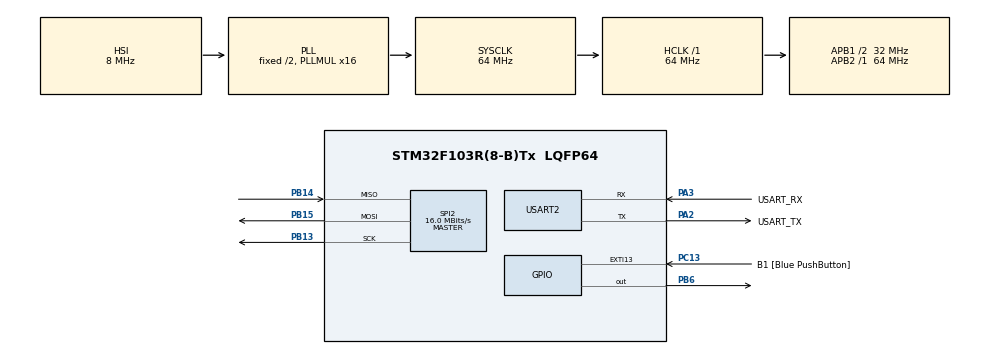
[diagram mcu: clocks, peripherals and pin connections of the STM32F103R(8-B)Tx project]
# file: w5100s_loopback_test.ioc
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Mcu.Family=STM32F1
PC15-OSC32_OUT.Mode=LSE-External-Oscillator
PA2.GPIO_PuPd=GPIO_NOPULL
PD1-OSC_OUT.Mode=HSE-External-Clock-Source
SPI2.VirtualType=VM_MASTER
PA14.GPIO_Label=TCK
PA3.GPIO_PuPd=GPIO_NOPULL
PA2.GPIO_Speed=GPIO_SPEED_FREQ_LOW
PC13-TAMPER-RTC.Signal=GPXTI13
PD0-OSC_IN.Signal=RCC_OSC_IN
RCC.APB1CLKDivider=RCC_HCLK_DIV2
PC14-OSC32_IN.Signal=RCC_OSC32_IN
PA3.GPIO_Speed=GPIO_SPEED_FREQ_LOW
PB13.Signal=SPI2_SCK
PB15.Signal=SPI2_MOSI
NVIC.USART2_IRQn=true\:0\:0\:false\:false\:true\:true\:true
RCC.SYSCLKSource=RCC_SYSCLKSOURCE_PLLCLK
ProjectManager.StackSize=0x400
PD1-OSC_OUT.Signal=RCC_OSC_OUT
PA13.Signal=SYS_JTMS-SWDIO
PA3.Mode=Asynchronous
ProjectManager.TargetToolchain=STM32CubeIDE
PA3.GPIO_Mode=GPIO_MODE_AF_PP
RCC.HCLKFreq_Value=64000000
RCC.APB2TimFreq_Value=64000000
PB6.Signal=GPIO_Output
RCC.USBFreq_Value=64000000
PC15-OSC32_OUT.Signal=RCC_OSC32_OUT
RCC.AHBFreq_Value=64000000
PD0-OSC_IN.Mode=HSE-External-Clock-Source
NVIC.EXTI15_10_IRQn=true\:0\:0\:false\:false\:true\:true\:true
PB14.Signal=SPI2_MISO
board=NUCLEO-F103RB
RCC.RTCClockSelection=RCC_RTCCLKSOURCE_LSE
PC13-TAMPER-RTC.GPIO_Label=B1 [Blue PushButton]
RCC.PLLMUL=RCC_PLL_MUL16
PB15.Mode=Full_Duplex_Master
RCC.APB2Freq_Value=64000000
PC14-OSC32_IN.Mode=LSE-External-Oscillator
PA14.Mode=Serial_Wire
PB14.Mode=Full_Duplex_Master
SPI2.CalculateBaudRate=16.0 MBits/s
PA13.Mode=Serial_Wire
Mcu.Name=STM32F103R(8-B)Tx
PA2.Signal=USART2_TX
PA13.GPIO_Label=TMS
PB3.Signal=SYS_JTDO-TRACESWO
RCC.SYSCLKFreq_VALUE=64000000
Mcu.Package=LQFP64
SPI2.Mode=SPI_MODE_MASTER
USART2.VirtualMode=VM_ASYNC
PC13-TAMPER-RTC.GPIO_PuPd=GPIO_NOPULL
PA2.GPIO_Label=USART_TX
PA14.Signal=SYS_JTCK-SWCLK
ProjectManager.HeapSize=0x200
NVIC.PriorityGroup=NVIC_PRIORITYGROUP_4
RCC.APB1TimFreq_Value=64000000
PA2.Mode=Asynchronous
SPI2.Direction=SPI_DIRECTION_2LINES
PB13.Mode=Full_Duplex_Master
RCC.APB1Freq_Value=32000000
PA3.GPIO_Label=USART_RX
PA3.Signal=USART2_RX
PA2.GPIO_Mode=GPIO_MODE_AF_PP
PB3.GPIO_Label=SWO

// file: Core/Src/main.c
/* USER CODE BEGIN Header */
/**
  ******************************************************************************
  * @file           : main.c
  * @brief          : Main program body
  ******************************************************************************
  * @attention
  *
  * <h2><center>&copy; Copyright (c) 2021 STMicroelectronics.
  * All rights reserved.</center></h2>
  *
  * This software component is licensed by ST under BSD 3-Clause license,
  * the "License"; You may not use this file except in compliance with the
  * License. You may obtain a copy of the License at:
  *                        opensource.org/licenses/BSD-3-Clause
  *
  ******************************************************************************
  */
/* USER CODE END Header */
#include "main.h"

/* USER CODE BEGIN Includes */
#include "wizchip_conf.h"
/* USER CODE END Includes */

SPI_HandleTypeDef hspi2;

UART_HandleTypeDef huart2;

/* USER CODE BEGIN PV */
wiz_NetInfo defaultNetInfo = { .mac = {0x00,0x08,0xdc,0xff,0xee,0xdd},
							.ip = {192,168,11,130},
							.sn = {255,255,255,0},
							.gw = {192,168,11,1},
							//.dns = {168, 126, 63, 1},
							.dns = {8, 8, 8, 8},
							.dhcp = NETINFO_STATIC};
uint8_t ethBuf0[2048];
uint8_t ethBuf1[2048];
uint8_t ethBuf2[2048];
uint8_t ethBuf3[2048];
uint8_t destip[4] = {192, 168, 11, 10}; //PC IP addr

/* USER CODE END PV */

void SystemClock_Config(void);
static void MX_GPIO_Init(void);
static void MX_USART2_UART_Init(void);
static void MX_SPI2_Init(void);
/* USER CODE BEGIN PFP */
void print_network_information(void);
int _write(int fd, char *str, int len);
/* USER CODE END PFP */

/* USER CODE BEGIN 0 */
void csEnable(void)
{
	HAL_GPIO_WritePin(GPIOB, GPIO_PIN_6, GPIO_PIN_RESET);
}

void csDisable(void)
{
	HAL_GPIO_WritePin(GPIOB, GPIO_PIN_6, GPIO_PIN_SET);
}

void spiWriteByte(uint8_t tx)
{
	uint8_t rx;
	HAL_SPI_TransmitReceive(&hspi2, &tx, &rx, 1, 10);
}

uint8_t spiReadByte(void)
{
	uint8_t rx = 0, tx = 0xFF;
	HAL_SPI_TransmitReceive(&hspi2, &tx, &rx, 1, 10);
	return rx;
}
void W5100s_Initialze(void)
{
	csDisable();
	reg_wizchip_cs_cbfunc(csEnable, csDisable);
	reg_wizchip_spi_cbfunc(spiReadByte,spiWriteByte);

#if _WIZCHIP_ == W5100
  HAL_Delay(3000);
#endif
#if _WIZCHIP_ == W5100S
  printf("version:%2x\r\n", getVER());
  printf("TMSR:%2x\r\n", getTMSR());
  //NETUNLOCK();
#endif
	uint8_t tmp;
	//w5500, w5200
#if _WIZCHIP_SOCK_NUM_ == 8
	uint8_t memsize[2][8] = { {2,2,2,2,2,2,2,2},{2,2,2,2,2,2,2,2}};
#else
	uint8_t memsize[2][4] = { {2,2,2,2},{2,2,2,2}};
#endif
	if(ctlwizchip(CW_INIT_WIZCHIP,(void*)memsize) == -1)
	{
		//myprintf("WIZCHIP Initialized fail.\r\n");
		printf("WIZCHIP Initialized fail.\r\n", 1, 10);
	  return;
	}
	/* PHY link status check */
	do {
		if(ctlwizchip(CW_GET_PHYLINK, (void*)&tmp) == -1)
		{
			printf("Unknown PHY Link status.\r\n", 1, 10);
		  return;
		}
	} while (tmp == PHY_LINK_OFF);
}

/* USER CODE END 0 */

int main(void)
{
  /* USER CODE BEGIN 1 */
//IP, MAC
  /* USER CODE END 1 */

  /* MCU Configuration--------------------------------------------------------*/

  /* Reset of all peripherals, Initializes the Flash interface and the Systick. */
  HAL_Init();

  /* Configure the system clock */
  SystemClock_Config();

  /* Initialize all configured peripherals */
  MX_GPIO_Init();
  MX_USART2_UART_Init();
  MX_SPI2_Init();
  /* USER CODE BEGIN 2 */
  printf("\t - W5100S Project - \r\n");
  resetAssert();
  HAL_Delay(1000);
  resetDeassert();
  HAL_Delay(1000);
  printf("\t - WizChip Init - \r\n");

  //WIZCHIPInitialize();
  W5100s_Initialze();

  wizchip_setnetinfo(&defaultNetInfo);
  print_network_information();
  /* USER CODE END 2 */

  /* Infinite loop */
  while (1)
  {

	  loopback_tcps(0, ethBuf0, 5000);
	  //loopback_tcps(1, ethBuf1, 5001);
	  //loopback_tcps(2, ethBuf2, 5002);
	  //loopback_tcps(3, ethBuf3, 5003);
	  //loopback_tcpc(1, ethBuf1, destip, 5010);
	  //loopback_udps(2, ethBuf2, 5020);
  }
}

void SystemClock_Config(void)
{
  RCC_OscInitTypeDef RCC_OscInitStruct = {0};
  RCC_ClkInitTypeDef RCC_ClkInitStruct = {0};

  /** Initializes the RCC Oscillators according to the specified parameters
  * in the RCC_OscInitTypeDef structure.
  */
  RCC_OscInitStruct.OscillatorType = RCC_OSCILLATORTYPE_HSI;
  RCC_OscInitStruct.HSIState = RCC_HSI_ON;
  RCC_OscInitStruct.HSICalibrationValue = RCC_HSICALIBRATION_DEFAULT;
  RCC_OscInitStruct.PLL.PLLState = RCC_PLL_ON;
  RCC_OscInitStruct.PLL.PLLSource = RCC_PLLSOURCE_HSI_DIV2;
  RCC_OscInitStruct.PLL.PLLMUL = RCC_PLL_MUL16;
  if (HAL_RCC_OscConfig(&RCC_OscInitStruct) != HAL_OK)
  {
    Error_Handler();
  }
  /** Initializes the CPU, AHB and APB buses clocks
  */
  RCC_ClkInitStruct.ClockType = RCC_CLOCKTYPE_HCLK|RCC_CLOCKTYPE_SYSCLK
                              |RCC_CLOCKTYPE_PCLK1|RCC_CLOCKTYPE_PCLK2;
  RCC_ClkInitStruct.SYSCLKSource = RCC_SYSCLKSOURCE_PLLCLK;
  RCC_ClkInitStruct.AHBCLKDivider = RCC_SYSCLK_DIV1;
  RCC_ClkInitStruct.APB1CLKDivider = RCC_HCLK_DIV2;
  RCC_ClkInitStruct.APB2CLKDivider = RCC_HCLK_DIV1;

  if (HAL_RCC_ClockConfig(&RCC_ClkInitStruct, FLASH_LATENCY_2) != HAL_OK)
  {
    Error_Handler();
  }
}

static void MX_SPI2_Init(void)
{

  /* SPI2 parameter configuration*/
  hspi2.Instance = SPI2;
  hspi2.Init.Mode = SPI_MODE_MASTER;
  hspi2.Init.Direction = SPI_DIRECTION_2LINES;
  hspi2.Init.DataSize = SPI_DATASIZE_8BIT;
  hspi2.Init.CLKPolarity = SPI_POLARITY_LOW;
  hspi2.Init.CLKPhase = SPI_PHASE_1EDGE;
  hspi2.Init.NSS = SPI_NSS_SOFT;
  hspi2.Init.BaudRatePrescaler = SPI_BAUDRATEPRESCALER_2;
  hspi2.Init.FirstBit = SPI_FIRSTBIT_MSB;
  hspi2.Init.TIMode = SPI_TIMODE_DISABLE;
  hspi2.Init.CRCCalculation = SPI_CRCCALCULATION_DISABLE;
  hspi2.Init.CRCPolynomial = 10;
  if (HAL_SPI_Init(&hspi2) != HAL_OK)
  {
    Error_Handler();
  }

}

static void MX_USART2_UART_Init(void)
{

  huart2.Instance = USART2;
  huart2.Init.BaudRate = 115200;
  huart2.Init.WordLength = UART_WORDLENGTH_8B;
  huart2.Init.StopBits = UART_STOPBITS_1;
  huart2.Init.Parity = UART_PARITY_NONE;
  huart2.Init.Mode = UART_MODE_TX_RX;
  huart2.Init.HwFlowCtl = UART_HWCONTROL_NONE;
  huart2.Init.OverSampling = UART_OVERSAMPLING_16;
  if (HAL_UART_Init(&huart2) != HAL_OK)
  {
    Error_Handler();
  }

}

static void MX_GPIO_Init(void)
{
  GPIO_InitTypeDef GPIO_InitStruct = {0};

  /* GPIO Ports Clock Enable */
  __HAL_RCC_GPIOC_CLK_ENABLE();
  __HAL_RCC_GPIOD_CLK_ENABLE();
  __HAL_RCC_GPIOA_CLK_ENABLE();
  __HAL_RCC_GPIOB_CLK_ENABLE();

  /*Configure GPIO pin Output Level */
  HAL_GPIO_WritePin(GPIOB, GPIO_PIN_6, GPIO_PIN_RESET);

  /*Configure GPIO pin : B1_Pin */
  GPIO_InitStruct.Pin = B1_Pin;
  GPIO_InitStruct.Mode = GPIO_MODE_IT_RISING;
  GPIO_InitStruct.Pull = GPIO_NOPULL;
  HAL_GPIO_Init(B1_GPIO_Port, &GPIO_InitStruct);

  /*Configure GPIO pin : PB6 */
  GPIO_InitStruct.Pin = GPIO_PIN_6;
  GPIO_InitStruct.Mode = GPIO_MODE_OUTPUT_PP;
  GPIO_InitStruct.Pull = GPIO_NOPULL;
  GPIO_InitStruct.Speed = GPIO_SPEED_FREQ_LOW;
  HAL_GPIO_Init(GPIOB, &GPIO_InitStruct);

  /* EXTI interrupt init*/
  HAL_NVIC_SetPriority(EXTI15_10_IRQn, 0, 0);
  HAL_NVIC_EnableIRQ(EXTI15_10_IRQn);

}

/* USER CODE BEGIN 4 */
void print_network_information(void)
{
	wizchip_getnetinfo(&defaultNetInfo);
	printf("Mac address: %02x:%02x:%02x:%02x:%02x:%02x\n\r",defaultNetInfo.mac[0],defaultNetInfo.mac[1],defaultNetInfo.mac[2],defaultNetInfo.mac[3],defaultNetInfo.mac[4],defaultNetInfo.mac[5]);
	printf("IP address : %d.%d.%d.%d\n\r",defaultNetInfo.ip[0],defaultNetInfo.ip[1],defaultNetInfo.ip[2],defaultNetInfo.ip[3]);
	printf("SM Mask	   : %d.%d.%d.%d\n\r",defaultNetInfo.sn[0],defaultNetInfo.sn[1],defaultNetInfo.sn[2],defaultNetInfo.sn[3]);
	printf("Gate way   : %d.%d.%d.%d\n\r",defaultNetInfo.gw[0],defaultNetInfo.gw[1],defaultNetInfo.gw[2],defaultNetInfo.gw[3]);
	printf("DNS Server : %d.%d.%d.%d\n\r",defaultNetInfo.dns[0],defaultNetInfo.dns[1],defaultNetInfo.dns[2],defaultNetInfo.dns[3]);
}

int _write(int fd, char *str, int len)
{
	for(int i=0; i<len; i++)
	{
		HAL_UART_Transmit(&huart2, (uint8_t *)&str[i], 1, 0xFFFF);
	}
	return len;
}
/* USER CODE END 4 */

void Error_Handler(void)
{
  __disable_irq();
  while (1)
  {
  }
}

/************************ (C) COPYRIGHT STMicroelectronics *****END OF FILE****/
